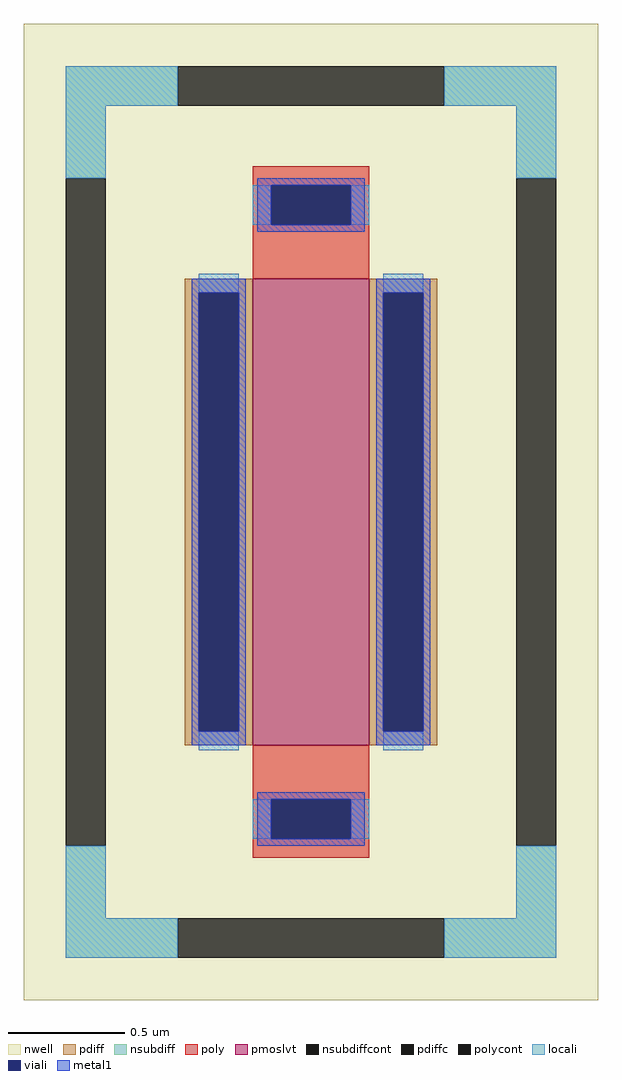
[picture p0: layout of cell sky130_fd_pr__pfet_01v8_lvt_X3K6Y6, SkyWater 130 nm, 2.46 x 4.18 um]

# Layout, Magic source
magic
tech sky130A
magscale 1 2
<< nwell >>
rect -246 -418 246 418
<< pmoslvt >>
rect -50 -200 50 200
<< pdiff >>
rect -108 188 -50 200
rect -108 -188 -96 188
rect -62 -188 -50 188
rect -108 -200 -50 -188
rect 50 188 108 200
rect 50 -188 62 188
rect 96 -188 108 188
rect 50 -200 108 -188
<< pdiffc >>
rect -96 -188 -62 188
rect 62 -188 96 188
<< nsubdiff >>
rect -210 348 -114 382
rect 114 348 210 382
rect -210 286 -176 348
rect 176 286 210 348
rect -210 -348 -176 -286
rect 176 -348 210 -286
rect -210 -382 -114 -348
rect 114 -382 210 -348
<< nsubdiffcont >>
rect -114 348 114 382
rect -210 -286 -176 286
rect 176 -286 210 286
rect -114 -382 114 -348
<< poly >>
rect -50 280 50 296
rect -50 246 -34 280
rect 34 246 50 280
rect -50 200 50 246
rect -50 -246 50 -200
rect -50 -280 -34 -246
rect 34 -280 50 -246
rect -50 -296 50 -280
<< polycont >>
rect -34 246 34 280
rect -34 -280 34 -246
<< locali >>
rect -210 348 -114 382
rect 114 348 210 382
rect -210 286 -176 348
rect 176 286 210 348
rect -50 246 -34 280
rect 34 246 50 280
rect -96 188 -62 204
rect -96 -204 -62 -188
rect 62 188 96 204
rect 62 -204 96 -188
rect -50 -280 -34 -246
rect 34 -280 50 -246
rect -210 -348 -176 -286
rect 176 -348 210 -286
rect -210 -382 -114 -348
rect 114 -382 210 -348
<< viali >>
rect -34 246 34 280
rect -96 -188 -62 188
rect 62 -188 96 188
rect -34 -280 34 -246
<< metal1 >>
rect -46 280 46 286
rect -46 246 -34 280
rect 34 246 46 280
rect -46 240 46 246
rect -102 188 -56 200
rect -102 -188 -96 188
rect -62 -188 -56 188
rect -102 -200 -56 -188
rect 56 188 102 200
rect 56 -188 62 188
rect 96 -188 102 188
rect 56 -200 102 -188
rect -46 -246 46 -240
rect -46 -280 -34 -246
rect 34 -280 46 -246
rect -46 -286 46 -280
<< properties >>
string FIXED_BBOX -192 -366 192 366
string gencell sky130_fd_pr__pfet_01v8_lvt
string library sky130
string parameters w 2.0 l 0.5 m 1 nf 1 diffcov 100 polycov 100 guard 1 glc 1 grc 1 gtc 1 gbc 1 tbcov 100 rlcov 100 topc 1 botc 1 poverlap 0 doverlap 1 lmin 0.35 wmin 0.42 compatible {sky130_fd_pr__pfet_01v8  sky130_fd_pr__pfet_01v8_lvt sky130_fd_pr__pfet_01v8_hvt  sky130_fd_pr__pfet_g5v0d10v5} full_metal 1 viasrc 100 viadrn 100 viagate 100 viagb 0 viagr 0 viagl 0 viagt 0
<< end >>
